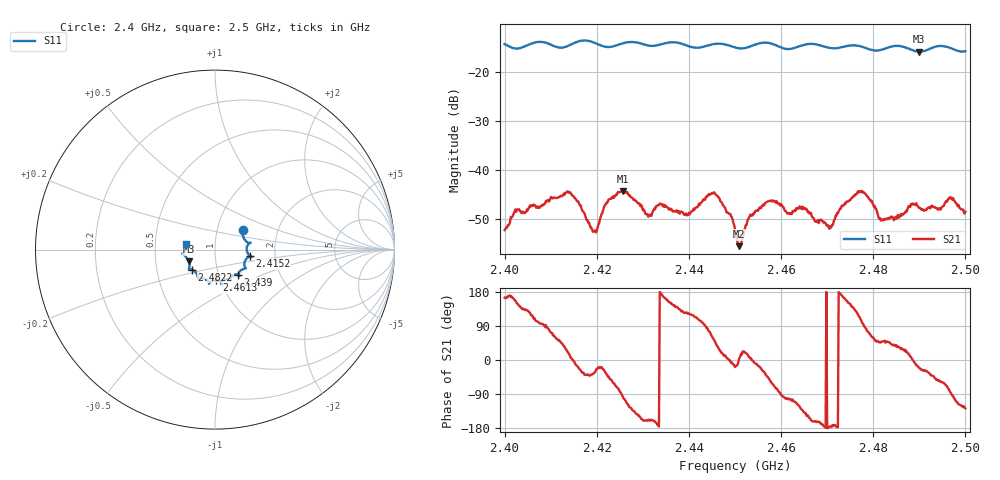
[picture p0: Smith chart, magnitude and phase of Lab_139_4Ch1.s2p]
# Hz S RI R 50
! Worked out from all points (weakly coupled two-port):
!   601 points, 2.4 GHz to 2.5 GHz, reference 50 ohm
!   highest |S21| = -44.27 dB at 2.4257 GHz (marker M1); lowest = -55.5 dB at 2.4508 GHz (marker M2)
!   lowest |S11| = -15.9 dB at 2.49 GHz (marker M3), VSWR 1.38, Z = 36.9 - j4.86 ohm
!   |S11| at or under -10 dB: start of sweep to end of sweep
!   S12 and S22 are empty: the file has one direction only
!   S11 on the Smith chart (normalised r, x): 2.4 GHz: 1.33, +0.31; 2.4152 GHz: 1.48, -0.11; 2.439 GHz: 1.24, -0.36; 2.4613 GHz: 0.96, -0.34; 2.4822 GHz: 0.76, -0.17; 2.5 GHz: 0.72, +0.05
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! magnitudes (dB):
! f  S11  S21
! 2.4 GHz  -14.3  -52.3
! 2.4027 GHz  -15.3  -48.0
! 2.4152 GHz  -14.1  -45.7
! 2.4167 GHz  -13.6  -47.8
! 2.4197 GHz  -14.1  -52.4
! 2.4257 GHz  -14.2  -44.3
! 2.431 GHz  -14.6  -49.0
! 2.4333 GHz  -14.5  -47.2
! 2.439 GHz  -14.4  -49.2
! 2.4455 GHz  -14.3  -44.6
! 2.45 GHz  -15.0  -52.1
! 2.4508 GHz  -15.2  -55.5
! 2.457 GHz  -14.1  -46.5
! 2.4613 GHz  -15.3  -48.9
! 2.4667 GHz  -14.3  -49.5
! 2.4708 GHz  -15.2  -51.8
! 2.4772 GHz  -14.8  -44.5
! 2.4822 GHz  -15.4  -50.3
! 2.4833 GHz  -15.0  -49.8
! 2.49 GHz  -15.9  -47.8
! 2.4968 GHz  -15.2  -45.8
! 2.5 GHz  -15.8  -48.5
